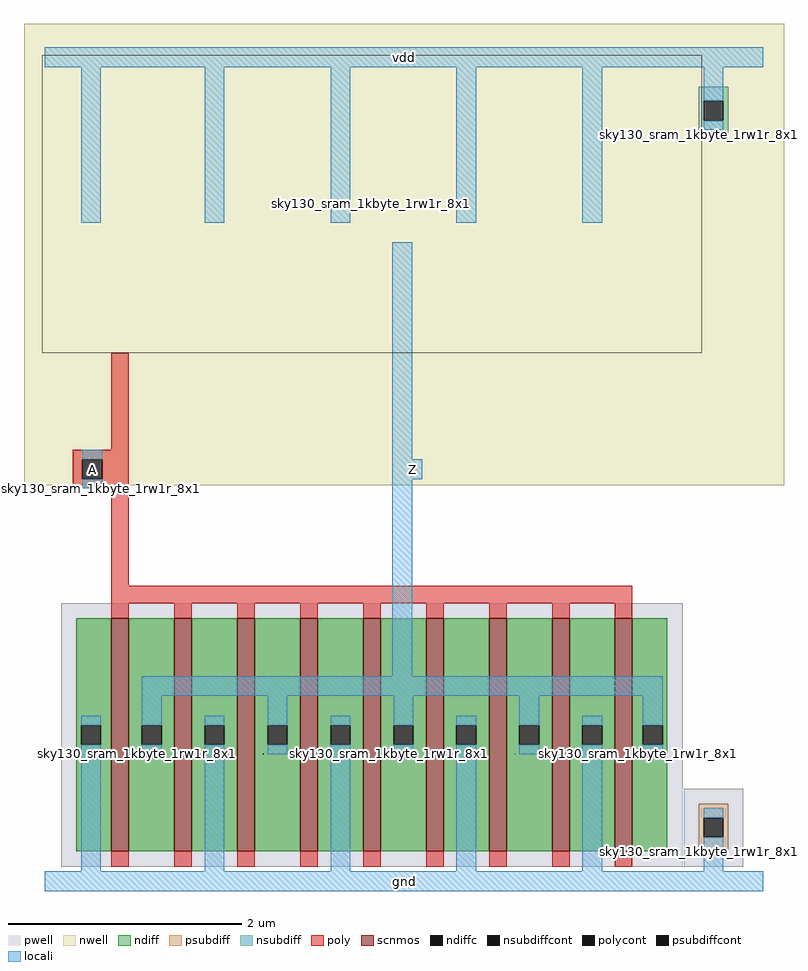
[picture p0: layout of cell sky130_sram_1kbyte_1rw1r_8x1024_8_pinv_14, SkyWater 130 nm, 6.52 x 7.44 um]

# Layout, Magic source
magic
tech sky130A
magscale 1 2
<< nwell >>
rect -36 679 1268 1471
<< pwell >>
rect 1096 25 1198 159
<< psubdiff >>
rect 1122 109 1172 133
rect 1122 75 1130 109
rect 1164 75 1172 109
rect 1122 51 1172 75
<< nsubdiff >>
rect 1122 1339 1172 1363
rect 1122 1305 1130 1339
rect 1164 1305 1172 1339
rect 1122 1281 1172 1305
<< psubdiffcont >>
rect 1130 75 1164 109
<< nsubdiffcont >>
rect 1130 1305 1164 1339
<< poly >>
rect 114 740 144 907
rect 48 724 144 740
rect 48 690 64 724
rect 98 690 144 724
rect 48 674 144 690
rect 114 507 144 674
<< polycont >>
rect 64 690 98 724
<< locali >>
rect 0 1397 1232 1431
rect 62 1130 96 1397
rect 274 1130 308 1397
rect 490 1130 524 1397
rect 706 1130 740 1397
rect 922 1130 956 1397
rect 1130 1339 1164 1397
rect 1130 1289 1164 1305
rect 64 724 98 740
rect 64 674 98 690
rect 596 724 630 1096
rect 596 690 647 724
rect 596 318 630 690
rect 62 17 96 218
rect 274 17 308 218
rect 490 17 524 218
rect 706 17 740 218
rect 922 17 956 218
rect 1130 109 1164 125
rect 1130 17 1164 75
rect 0 -17 1232 17
use sky130_sram_1kbyte_1rw1r_8x1024_8_contact_16  sky130_sram_1kbyte_1rw1r_8x1024_8_contact_16_0
transform 1 0 48 0 1 674
box 0 0 1 1
use sky130_sram_1kbyte_1rw1r_8x1024_8_contact_29  sky130_sram_1kbyte_1rw1r_8x1024_8_contact_29_0
transform 1 0 1122 0 1 51
box 0 0 1 1
use sky130_sram_1kbyte_1rw1r_8x1024_8_contact_28  sky130_sram_1kbyte_1rw1r_8x1024_8_contact_28_0
transform 1 0 1122 0 1 1281
box 0 0 1 1
use sky130_sram_1kbyte_1rw1r_8x1024_8_nmos_m9_w2_000_sli_dli_da_p  sky130_sram_1kbyte_1rw1r_8x1024_8_nmos_m9_w2_000_sli_dli_da_p_0
transform 1 0 54 0 1 51
box -26 -26 1040 456
use sky130_sram_1kbyte_1rw1r_8x1024_8_pmos_m9_w2_000_sli_dli_da_p  sky130_sram_1kbyte_1rw1r_8x1024_8_pmos_m9_w2_000_sli_dli_da_p_0
transform 1 0 54 0 1 963
box -59 -56 1073 454
<< labels >>
rlabel locali s 81 707 81 707 4 A
port 1 nsew
rlabel locali s 630 707 630 707 4 Z
port 2 nsew
rlabel locali s 616 0 616 0 4 gnd
port 3 nsew
rlabel locali s 616 1414 616 1414 4 vdd
port 4 nsew
<< properties >>
string FIXED_BBOX 0 0 1232 1414
string GDS_FILE $PDKPATH/libs.ref/sky130_sram_macros/gds/sky130_sram_1kbyte_1rw1r_8x1024_8.gds
string GDS_END 85032
string GDS_START 82650
<< end >>

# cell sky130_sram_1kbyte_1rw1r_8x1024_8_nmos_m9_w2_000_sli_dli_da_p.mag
magic
tech sky130A
magscale 1 2
<< pwell >>
rect -26 -26 1040 426
<< scnmos >>
rect 60 0 90 400
rect 168 0 198 400
rect 276 0 306 400
rect 384 0 414 400
rect 492 0 522 400
rect 600 0 630 400
rect 708 0 738 400
rect 816 0 846 400
rect 924 0 954 400
<< ndiff >>
rect 0 217 60 400
rect 0 183 8 217
rect 42 183 60 217
rect 0 0 60 183
rect 90 217 168 400
rect 90 183 112 217
rect 146 183 168 217
rect 90 0 168 183
rect 198 217 276 400
rect 198 183 220 217
rect 254 183 276 217
rect 198 0 276 183
rect 306 217 384 400
rect 306 183 328 217
rect 362 183 384 217
rect 306 0 384 183
rect 414 217 492 400
rect 414 183 436 217
rect 470 183 492 217
rect 414 0 492 183
rect 522 217 600 400
rect 522 183 544 217
rect 578 183 600 217
rect 522 0 600 183
rect 630 217 708 400
rect 630 183 652 217
rect 686 183 708 217
rect 630 0 708 183
rect 738 217 816 400
rect 738 183 760 217
rect 794 183 816 217
rect 738 0 816 183
rect 846 217 924 400
rect 846 183 868 217
rect 902 183 924 217
rect 846 0 924 183
rect 954 217 1014 400
rect 954 183 972 217
rect 1006 183 1014 217
rect 954 0 1014 183
<< ndiffc >>
rect 8 183 42 217
rect 112 183 146 217
rect 220 183 254 217
rect 328 183 362 217
rect 436 183 470 217
rect 544 183 578 217
rect 652 183 686 217
rect 760 183 794 217
rect 868 183 902 217
rect 972 183 1006 217
<< poly >>
rect 60 426 954 456
rect 60 400 90 426
rect 168 400 198 426
rect 276 400 306 426
rect 384 400 414 426
rect 492 400 522 426
rect 600 400 630 426
rect 708 400 738 426
rect 816 400 846 426
rect 924 400 954 426
rect 60 -26 90 0
rect 168 -26 198 0
rect 276 -26 306 0
rect 384 -26 414 0
rect 492 -26 522 0
rect 600 -26 630 0
rect 708 -26 738 0
rect 816 -26 846 0
rect 924 -26 954 0
<< locali >>
rect 112 267 1006 301
rect 8 217 42 233
rect 8 167 42 183
rect 112 217 146 267
rect 112 167 146 183
rect 220 217 254 233
rect 220 167 254 183
rect 328 217 362 267
rect 328 167 362 183
rect 436 217 470 233
rect 436 167 470 183
rect 544 217 578 267
rect 544 167 578 183
rect 652 217 686 233
rect 652 167 686 183
rect 760 217 794 267
rect 760 167 794 183
rect 868 217 902 233
rect 868 167 902 183
rect 972 217 1006 267
rect 972 167 1006 183
use sky130_sram_1kbyte_1rw1r_8x1024_8_contact_11  sky130_sram_1kbyte_1rw1r_8x1024_8_contact_11_0
transform 1 0 964 0 1 167
box 0 0 1 1
use sky130_sram_1kbyte_1rw1r_8x1024_8_contact_11  sky130_sram_1kbyte_1rw1r_8x1024_8_contact_11_1
transform 1 0 860 0 1 167
box 0 0 1 1
use sky130_sram_1kbyte_1rw1r_8x1024_8_contact_11  sky130_sram_1kbyte_1rw1r_8x1024_8_contact_11_2
transform 1 0 752 0 1 167
box 0 0 1 1
use sky130_sram_1kbyte_1rw1r_8x1024_8_contact_11  sky130_sram_1kbyte_1rw1r_8x1024_8_contact_11_3
transform 1 0 644 0 1 167
box 0 0 1 1
use sky130_sram_1kbyte_1rw1r_8x1024_8_contact_11  sky130_sram_1kbyte_1rw1r_8x1024_8_contact_11_4
transform 1 0 536 0 1 167
box 0 0 1 1
use sky130_sram_1kbyte_1rw1r_8x1024_8_contact_11  sky130_sram_1kbyte_1rw1r_8x1024_8_contact_11_5
transform 1 0 428 0 1 167
box 0 0 1 1
use sky130_sram_1kbyte_1rw1r_8x1024_8_contact_11  sky130_sram_1kbyte_1rw1r_8x1024_8_contact_11_6
transform 1 0 320 0 1 167
box 0 0 1 1
use sky130_sram_1kbyte_1rw1r_8x1024_8_contact_11  sky130_sram_1kbyte_1rw1r_8x1024_8_contact_11_7
transform 1 0 212 0 1 167
box 0 0 1 1
use sky130_sram_1kbyte_1rw1r_8x1024_8_contact_11  sky130_sram_1kbyte_1rw1r_8x1024_8_contact_11_8
transform 1 0 104 0 1 167
box 0 0 1 1
use sky130_sram_1kbyte_1rw1r_8x1024_8_contact_11  sky130_sram_1kbyte_1rw1r_8x1024_8_contact_11_9
transform 1 0 0 0 1 167
box 0 0 1 1
<< labels >>
rlabel locali s 25 200 25 200 4 S
port 1 nsew
rlabel locali s 885 200 885 200 4 S
port 1 nsew
rlabel locali s 237 200 237 200 4 S
port 1 nsew
rlabel locali s 453 200 453 200 4 S
port 1 nsew
rlabel locali s 669 200 669 200 4 S
port 1 nsew
rlabel locali s 559 284 559 284 4 D
port 2 nsew
rlabel poly s 507 441 507 441 4 G
port 3 nsew
<< properties >>
string FIXED_BBOX -25 -26 1039 456
string GDS_FILE $PDKPATH/libs.ref/sky130_sram_macros/gds/sky130_sram_1kbyte_1rw1r_8x1024_8.gds
string GDS_END 32642
string GDS_START 29990
<< end >>
